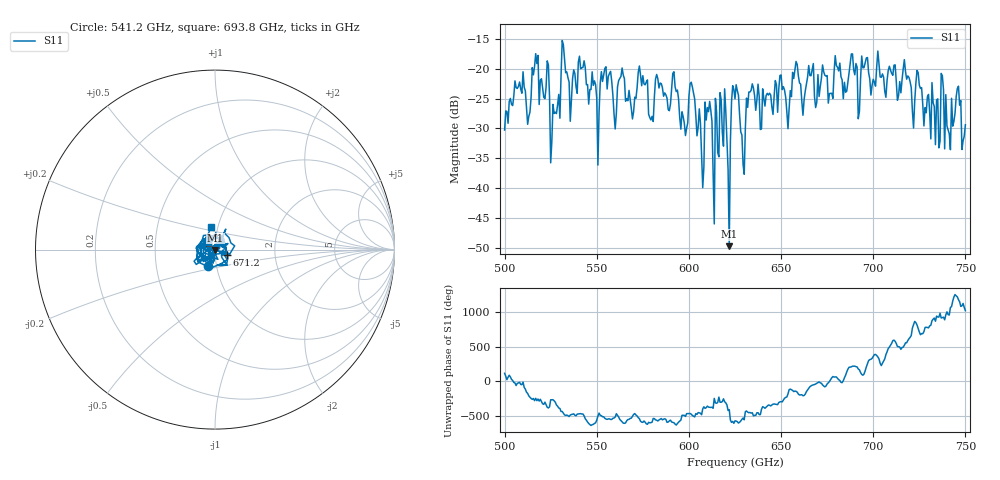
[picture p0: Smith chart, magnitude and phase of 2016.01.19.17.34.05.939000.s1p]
!Created with skrf (http://scikit-rf.org).
# GHz S RI R 50.0
!freq ReS11 ImS11
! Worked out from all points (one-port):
!   401 points, 500 GHz to 750 GHz, reference 50 ohm
!   lowest |S11| = -49.7 dB at 621.9 GHz (marker M1), VSWR 1.01, Z = 50.2 - j0.262 ohm
!   |S11| at or under -10 dB: start of sweep to end of sweep
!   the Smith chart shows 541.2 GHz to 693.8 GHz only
!   S11 on the Smith chart (normalised r, x): 541.2 GHz: 0.91, -0.17; 671.2 GHz: 1.14, -0.06; 693.8 GHz: 0.93, +0.24
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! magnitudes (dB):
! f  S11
! 500 GHz  -30.3
! 506.9 GHz  -23.3
! 513.1 GHz  -28.0
! 516.9 GHz  -17.5
! 526.2 GHz  -26.0
! 531.2 GHz  -15.3
! 541.2 GHz  -20.0
! 550.6 GHz  -36.1
! 562.5 GHz  -21.6
! 579.4 GHz  -28.6
! 583.1 GHz  -21.6
! 593.8 GHz  -23.6
! 598.1 GHz  -31.2
! 601.9 GHz  -23.1
! 606.9 GHz  -34.5
! 610 GHz  -26.5
! 614.4 GHz  -24.9
! 618.1 GHz  -30.7
! 621.9 GHz  -49.7
! 625 GHz  -25.0
! 629.4 GHz  -36.0
! 633.8 GHz  -23.6
! 656.2 GHz  -20.6
! 671.2 GHz  -23.0
! 687.5 GHz  -19.1
! 693.8 GHz  -17.9
! 718.8 GHz  -21.2
! 750 GHz  -29.4
